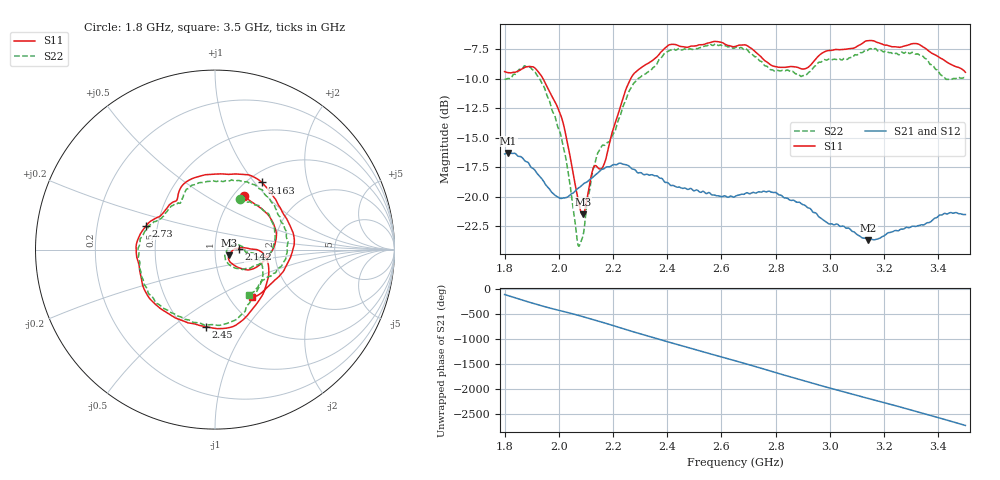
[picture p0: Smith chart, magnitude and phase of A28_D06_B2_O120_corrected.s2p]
! Created with skrf 1.9.0 (http://scikit-rf.org).
# Hz S RI R 50.0
!freq ReS11 ImS11 ReS21 ImS21 ReS12 ImS12 ReS22 ImS22
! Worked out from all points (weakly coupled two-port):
!   1601 points, 1.8 GHz to 3.5 GHz, reference 50 ohm
!   highest |S21| = -16.29 dB at 1.814 GHz (marker M1); lowest = -23.7 dB at 3.142 GHz (marker M2)
!   lowest |S11| = -21.5 dB at 2.088 GHz (marker M3), VSWR 1.18, Z = 58.3 - j3.79 ohm
!   |S11| at or under -10 dB: 1.942 GHz to 2.265 GHz (323.1 MHz wide, 15.4 % of centre)
!   |S22| runs from -24.2 to -7.0 dB; largest |S21 - S12| = 0.0025
!   S11 on the Smith chart (normalised r, x): 1.8 GHz: 1.12, +0.75; 2.142 GHz: 1.31, +0.00; 2.45 GHz: 0.63, -0.67; 2.73 GHz: 0.43, +0.14; 3.163 GHz: 1.16, +1.09; 3.5 GHz: 1.27, -0.76
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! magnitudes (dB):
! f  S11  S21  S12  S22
! 1.8 GHz  -9.4  -16.4  -16.4  -10.0
! 1.814 GHz  -9.5  -16.3  -16.3  -10.0
! 1.881 GHz  -9.0  -17.0  -17.0  -9.0
! 1.942 GHz  -10.0  -18.6  -18.6  -10.6
! 2.013 GHz  -13.5  -20.1  -20.1  -15.3
! 2.068 GHz  -19.8  -19.3  -19.3  -23.7
! 2.084 GHz  -21.4  -19.1  -19.0  -23.7
! 2.088 GHz  -21.5  -19.0  -19.0  -23.4
! 2.125 GHz  -17.7  -18.4  -18.3  -17.8
! 2.142 GHz  -17.5  -18.0  -18.0  -16.4
! 2.168 GHz  -17.2  -17.6  -17.6  -15.6
! 2.265 GHz  -10.0  -17.5  -17.5  -10.8
! 2.367 GHz  -8.0  -18.3  -18.3  -8.5
! 2.45 GHz  -7.3  -19.2  -19.2  -7.5
! 2.65 GHz  -7.3  -20.0  -19.9  -7.4
! 2.73 GHz  -7.8  -19.7  -19.7  -8.2
! 2.934 GHz  -8.7  -21.2  -21.1  -9.2
! 3.142 GHz  -6.8  -23.7  -23.5  -7.6
! 3.163 GHz  -6.8  -23.6  -23.6  -7.5
! 3.217 GHz  -7.2  -23.0  -23.0  -7.8
! 3.326 GHz  -7.1  -22.4  -22.4  -7.9
! 3.5 GHz  -9.5  -21.5  -21.5  -10.0
